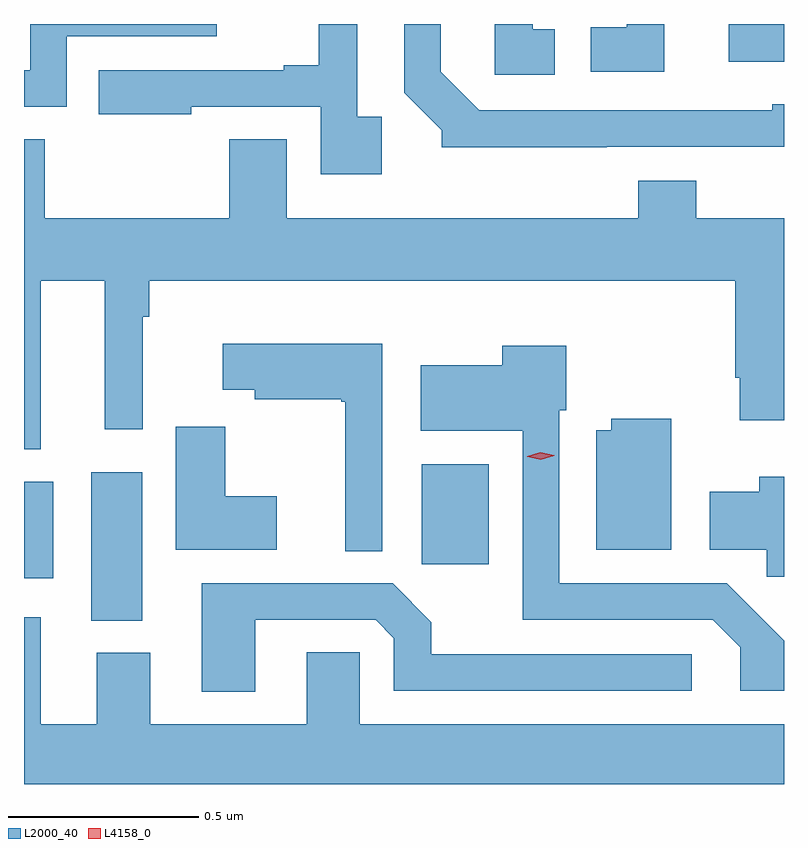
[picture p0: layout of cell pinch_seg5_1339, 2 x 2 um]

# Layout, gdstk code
import gdstk
lib = gdstk.Library(unit=1e-6, precision=1e-09)
def R(c, l, rs):  # rectangles x0, y0, x1, y1
    for r in rs: c.add(gdstk.rectangle(r[:2], r[2:], *l))
def P(c, l, *ps):  # polygons
    for p in ps: c.add(gdstk.Polygon(p, *l))
L2000_40 = (2000, 40)
L4158_0 = (4158, 0)

pinch_seg5_1339 = lib.new_cell('pinch_seg5_1339')
R(pinch_seg5_1339, L2000_40, [(396.242,846.541,396.376,846.931), (396.065,846.653,396.142,846.907), (397.112,846.689,397.288,846.952), (397.919,848.012,398.065,848.111)])
P(pinch_seg5_1339, L2000_40, [(396.177,848.079),(396.572,848.079),(396.572,848.111),(396.081,848.111),(396.081,847.989),(396.065,847.989),(396.065,847.893),(396.177,847.893)],
  [(397.007,847.867),(396.942,847.867),(396.942,848.111),(396.841,848.111),(396.841,848.002),(396.749,848.002),(396.749,847.989),(396.262,847.989),(396.262,847.874),(396.505,847.874),(396.505,847.893),(396.846,847.893),(396.846,847.716),(397.007,847.716)],
  [(397.75,848.111),(397.651,848.111),(397.651,848.102),(397.557,848.102),(397.557,847.986),(397.75,847.986)],
  [(397.598,847.788),(398.065,847.788),(398.065,847.9),(398.034,847.9),(398.034,847.884),(397.263,847.884),(397.162,847.985),(397.162,848.111),(397.065,848.111),(397.065,847.93),(397.164,847.831),(397.164,847.787),(397.598,847.787)],
  [(397.462,848.097),(397.404,848.097),(397.404,848.111),(397.304,848.111),(397.304,847.977),(397.462,847.977)],
  [(396.109,847.436),(396.278,847.436),(396.278,847.044),(396.377,847.044),(396.377,847.34),(396.395,847.34),(396.395,847.436),(397.937,847.436),(397.937,847.18),(397.949,847.18),(397.949,847.068),(398.065,847.068),(398.065,847.6),(397.834,847.6),(397.834,847.699),(397.682,847.699),(397.682,847.6),(396.757,847.6),(396.757,847.808),(396.605,847.808),(396.605,847.6),(396.119,847.6),(396.119,847.808),(396.065,847.808),(396.065,846.992),(396.109,846.992)],
  [(397.008,847.27),(396.588,847.27),(396.588,847.148),(396.672,847.148),(396.672,847.124),(396.9,847.124),(396.9,847.117),(396.911,847.117),(396.911,846.724),(397.008,846.724)],
  [(398.065,846.488),(397.914,846.639),(397.473,846.639),(397.473,847.095),(397.492,847.095),(397.492,847.264),(397.324,847.264),(397.324,847.213),(397.109,847.213),(397.109,847.04),(397.377,847.04),(397.377,846.543),(397.878,846.543),(397.95,846.471),(397.95,846.357),(398.065,846.357)],
  [(397.768,847.072),(397.61,847.072),(397.61,847.042),(397.571,847.042),(397.571,846.728),(397.768,846.728)],
  [(396.73,846.868),(396.594,846.868),(396.594,847.051),(396.464,847.051),(396.464,846.728),(396.73,846.728)],
  [(398.065,846.92),(398,846.92),(398,846.88),(397.869,846.88),(397.869,846.728),(398.02,846.728),(398.02,846.656),(398.065,846.656)],
  [(396.673,846.543),(396.99,846.543),(397.038,846.495),(397.038,846.357),(397.822,846.357),(397.822,846.453),(397.137,846.453),(397.137,846.537),(397.035,846.639),(396.533,846.639),(396.533,846.354),(396.673,846.354)],
  [(398.065,846.268),(396.948,846.268),(396.948,846.458),(396.809,846.458),(396.809,846.268),(396.397,846.268),(396.397,846.456),(396.257,846.456),(396.257,846.268),(396.109,846.268),(396.109,846.55),(396.065,846.55),(396.065,846.111),(398.065,846.111)])
P(pinch_seg5_1339, L4158_0, [(397.425,846.964),(397.389,846.972),(397.389,846.973),(397.389,846.973),(397.424,846.984),(397.461,846.976),(397.461,846.975),(397.461,846.975)])

lib.write_gds('pinch_seg5_1339.gds')
